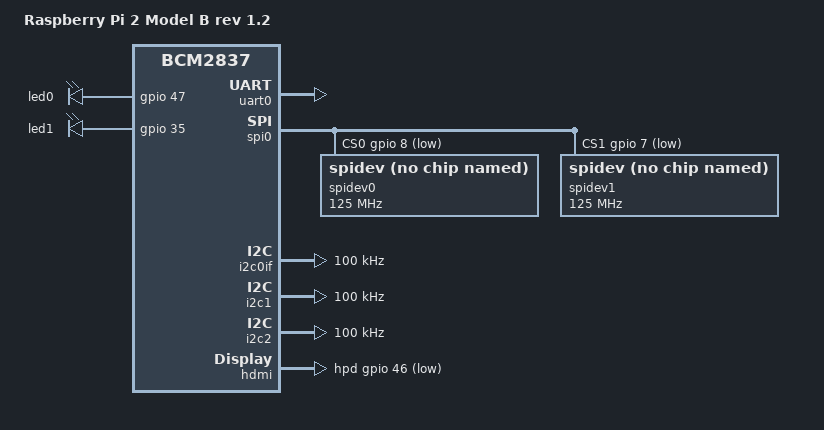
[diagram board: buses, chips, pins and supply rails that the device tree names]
/dts-v1/;

#include "bcm2710.dtsi"
#include "bcm2709-rpi.dtsi"
#include "bcm283x-rpi-smsc9514.dtsi"
#include "bcm283x-rpi-csi1-2lane.dtsi"
#include "bcm283x-rpi-i2c0mux_0_28.dtsi"

/ {
	compatible = "raspberrypi,2-model-b-rev2", "brcm,bcm2837";
	model = "Raspberry Pi 2 Model B rev 1.2";
};

&gpio {
	/*
	 * Taken from rpi_SCH_2b_1p2_reduced.pdf and
	 * the official GPU firmware DT blob.
	 *
	 * Legend:
	 * "NC" = not connected (no rail from the SoC)
	 * "FOO" = GPIO line named "FOO" on the schematic
	 * "FOO_N" = GPIO line named "FOO" on schematic, active low
	 */
	gpio-line-names = "ID_SDA",
			  "ID_SCL",
			  "SDA1",
			  "SCL1",
			  "GPIO_GCLK",
			  "GPIO5",
			  "GPIO6",
			  "SPI_CE1_N",
			  "SPI_CE0_N",
			  "SPI_MISO",
			  "SPI_MOSI",
			  "SPI_SCLK",
			  "GPIO12",
			  "GPIO13",
			  /* Serial port */
			  "TXD0",
			  "RXD0",
			  "GPIO16",
			  "GPIO17",
			  "GPIO18",
			  "GPIO19",
			  "GPIO20",
			  "GPIO21",
			  "GPIO22",
			  "GPIO23",
			  "GPIO24",
			  "GPIO25",
			  "GPIO26",
			  "GPIO27",
			  "SDA0",
			  "SCL0",
			  "NC", /* GPIO30 */
			  "LAN_RUN",
			  "CAM_GPIO1",
			  "NC", /* GPIO33 */
			  "NC", /* GPIO34 */
			  "PWR_LOW_N",
			  "NC", /* GPIO36 */
			  "NC", /* GPIO37 */
			  "USB_LIMIT",
			  "NC", /* GPIO39 */
			  "PWM0_OUT",
			  "CAM_GPIO0",
			  "SMPS_SCL",
			  "SMPS_SDA",
			  "ETH_CLK",
			  "PWM1_OUT",
			  "HDMI_HPD_N",
			  "STATUS_LED",
			  /* Used by SD Card */
			  "SD_CLK_R",
			  "SD_CMD_R",
			  "SD_DATA0_R",
			  "SD_DATA1_R",
			  "SD_DATA2_R",
			  "SD_DATA3_R";

	spi0_pins: spi0_pins {
		brcm,pins = <9 10 11>;
		brcm,function = <4>; /* alt0 */
	};

	spi0_cs_pins: spi0_cs_pins {
		brcm,pins = <8 7>;
		brcm,function = <1>; /* output */
	};

	i2c0_pins: i2c0 {
		brcm,pins = <0 1>;
		brcm,function = <4>;
	};

	i2c1_pins: i2c1 {
		brcm,pins = <2 3>;
		brcm,function = <4>;
	};

	i2s_pins: i2s {
		brcm,pins = <18 19 20 21>;
		brcm,function = <4>; /* alt0 */
	};

	audio_pins: audio_pins {
		brcm,pins = <40 45>;
		brcm,function = <4>;
	};
};

&uart0 {
	status = "okay";
};

&spi0 {
	pinctrl-names = "default";
	pinctrl-0 = <&spi0_pins &spi0_cs_pins>;
	cs-gpios = <&gpio 8 1>, <&gpio 7 1>;

	spidev0: spidev@0{
		compatible = "spidev";
		reg = <0>;	/* CE0 */
		#address-cells = <1>;
		#size-cells = <0>;
		spi-max-frequency = <125000000>;
	};

	spidev1: spidev@1{
		compatible = "spidev";
		reg = <1>;	/* CE1 */
		#address-cells = <1>;
		#size-cells = <0>;
		spi-max-frequency = <125000000>;
	};
};

&i2c0if {
	clock-frequency = <100000>;
};

&i2c1 {
	pinctrl-names = "default";
	pinctrl-0 = <&i2c1_pins>;
	clock-frequency = <100000>;
};

&i2c2 {
	clock-frequency = <100000>;
};

&i2s {
	pinctrl-names = "default";
	pinctrl-0 = <&i2s_pins>;
};

&leds {
	act_led: led-act {
		label = "led0";
		linux,default-trigger = "mmc0";
		gpios = <&gpio 47 0>;
	};

	pwr_led: led-pwr {
		label = "led1";
		linux,default-trigger = "input";
		gpios = <&gpio 35 0>;
	};
};

&hdmi {
	hpd-gpios = <&gpio 46 GPIO_ACTIVE_LOW>;
};

&audio {
	pinctrl-names = "default";
	pinctrl-0 = <&audio_pins>;
};

&cam1_reg {
	gpio = <&gpio 41 GPIO_ACTIVE_HIGH>;
};

cam0_reg: &cam_dummy_reg {
};

/ {
	__overrides__ {
		act_led_gpio = <&act_led>,"gpios:4";
		act_led_activelow = <&act_led>,"gpios:8";
		act_led_trigger = <&act_led>,"linux,default-trigger";

		pwr_led_gpio = <&pwr_led>,"gpios:4";
		pwr_led_activelow = <&pwr_led>,"gpios:8";
		pwr_led_trigger = <&pwr_led>,"linux,default-trigger";
	};
};
